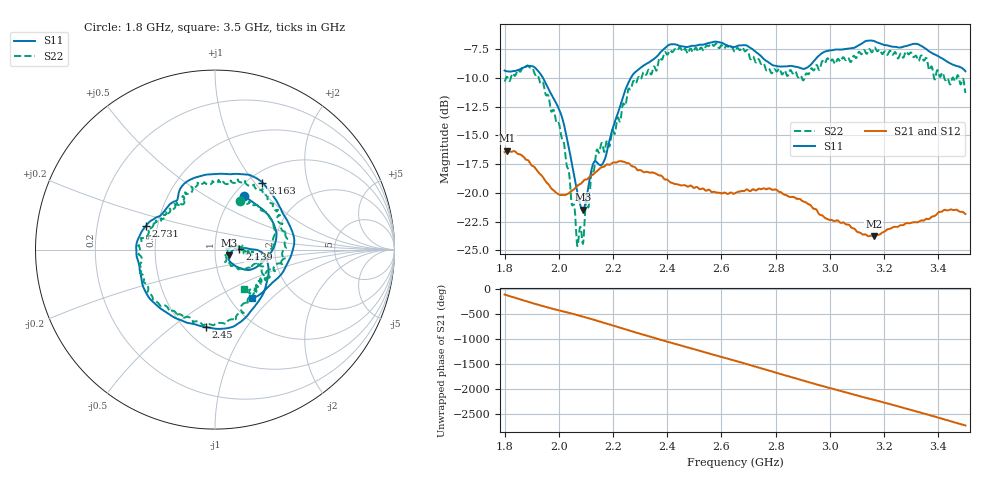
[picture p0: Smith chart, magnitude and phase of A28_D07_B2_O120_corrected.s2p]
! Created with skrf 1.9.0 (http://scikit-rf.org).
# Hz S RI R 50.0
!freq ReS11 ImS11 ReS21 ImS21 ReS12 ImS12 ReS22 ImS22
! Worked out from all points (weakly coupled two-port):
!   1601 points, 1.8 GHz to 3.5 GHz, reference 50 ohm
!   highest |S21| = -16.35 dB at 1.811 GHz (marker M1); lowest = -23.8 dB at 3.162 GHz (marker M2)
!   lowest |S11| = -21.5 dB at 2.088 GHz (marker M3), VSWR 1.18, Z = 58.4 - j3.76 ohm
!   |S11| at or under -10 dB: 1.942 GHz to 2.266 GHz (324.1 MHz wide, 15.4 % of centre)
!   |S22| runs from -24.6 to -7.0 dB; largest |S21 - S12| = 0.0028
!   S11 on the Smith chart (normalised r, x): 1.8 GHz: 1.12, +0.76; 2.139 GHz: 1.32, +0.01; 2.45 GHz: 0.63, -0.67; 2.731 GHz: 0.43, +0.14; 3.163 GHz: 1.16, +1.10; 3.5 GHz: 1.26, -0.76
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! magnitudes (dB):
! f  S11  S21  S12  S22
! 1.8 GHz  -9.4  -16.5  -16.5  -10.3
! 1.811 GHz  -9.4  -16.3  -16.4  -9.9
! 1.886 GHz  -9.0  -17.2  -17.2  -8.9
! 1.941 GHz  -10.0  -18.6  -18.6  -10.4
! 2.013 GHz  -13.5  -20.2  -20.2  -15.3
! 2.067 GHz  -19.7  -19.4  -19.4  -24.4
! 2.084 GHz  -21.3  -19.2  -19.1  -23.5
! 2.088 GHz  -21.5  -19.0  -19.1  -24.4
! 2.139 GHz  -17.3  -18.2  -18.1  -16.3
! 2.168 GHz  -17.2  -17.7  -17.7  -16.4
! 2.266 GHz  -10.0  -17.6  -17.6  -10.9
! 2.367 GHz  -8.0  -18.4  -18.4  -8.6
! 2.45 GHz  -7.2  -19.4  -19.3  -7.5
! 2.65 GHz  -7.3  -20.0  -20.0  -7.7
! 2.731 GHz  -7.8  -19.8  -19.8  -8.5
! 2.899 GHz  -9.2  -20.7  -20.7  -10.1
! 2.934 GHz  -8.7  -21.2  -21.2  -9.2
! 3.162 GHz  -6.8  -23.8  -23.7  -7.5
! 3.163 GHz  -6.8  -23.8  -23.7  -7.4
! 3.217 GHz  -7.2  -23.1  -23.1  -7.8
! 3.326 GHz  -7.1  -22.6  -22.5  -8.5
! 3.5 GHz  -9.4  -21.8  -21.8  -11.3
